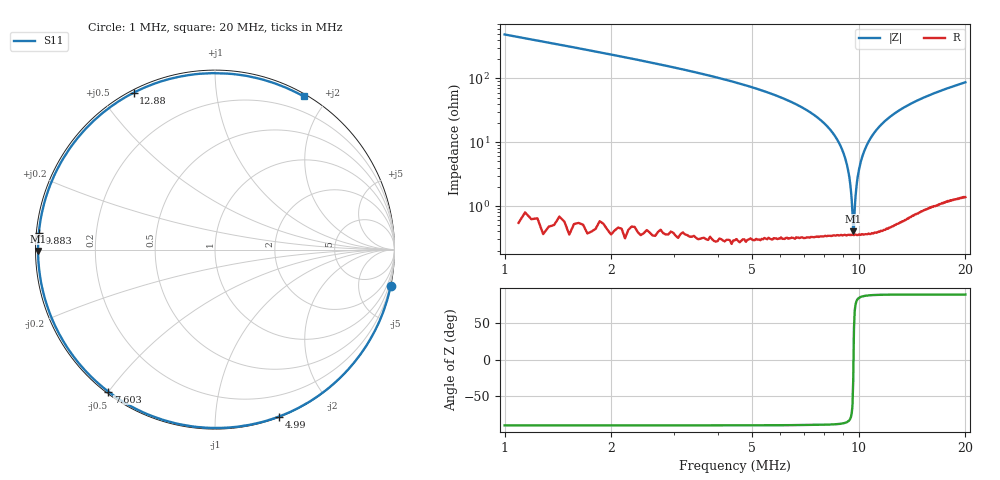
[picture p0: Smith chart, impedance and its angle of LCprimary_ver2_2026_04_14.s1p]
# HZ S RI R 50
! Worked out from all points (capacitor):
!   401 points, 1 MHz to 20 MHz, reference 50 ohm
!   read as one part to ground: C = 323 pF near 1.095 MHz
!   lowest |Z| = 401 mohm at 9.645 MHz (marker M1)
!   series resonance near 9.663 MHz, so ESL is about 840 nH
!   S11 on the Smith chart (normalised r, x): 1 MHz: 0.01, -9.73; 4.99 MHz: 0.01, -1.45; 7.603 MHz: 0.01, -0.50; 9.883 MHz: 0.01, +0.05; 12.88 MHz: 0.01, +0.61; 20 MHz: 0.03, +1.73
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1000000  0.9788 -0.2033
2235000  0.8906 -0.4528
2805000  0.8231 -0.5655
3375000  0.7353 -0.6751
4182500  0.5718 -0.8175
4990000  0.3564 -0.9302
5750000  0.106 -0.9887
6225000  -0.0697 -0.9908
6700000  -0.2536 -0.959
7127500  -0.4198 -0.8975
7602500  -0.5947 -0.7907
8125000  -0.7617 -0.6296
8505000  -0.858 -0.4881
8885000  -0.9287 -0.3326
9265000  -0.9714 -0.1702
9645000  -0.986 -0.0075
9882500  -0.9818 0.0918
1.05e7  -0.929 0.3305
1.107e7  -0.8393 0.5173
1.164e7  -0.7261 0.667
1.221e7  -0.6012 0.7805
1.2875e7  -0.4535 0.8741
1.392e7  -0.2351 0.9551
1.525e7  -0.000872 0.9829
1.639e7  0.1604 0.9703
1.7625e7  0.3005 0.9368
1.88125e7  0.4079 0.8967
2e7  0.4945 0.8534
